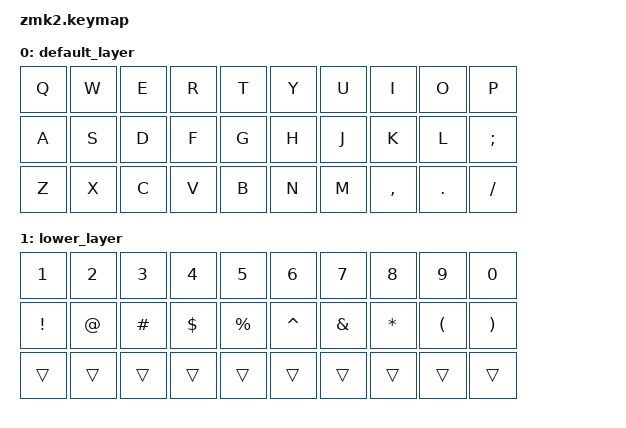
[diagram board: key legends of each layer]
#include <behaviors.dtsi>
#include <dt-bindings/zmk/keys.h>

/ {
    keymap {
        compatible = "zmk,keymap";

        default_layer {
            bindings = <
                &kp Q &kp W &kp E &kp R &kp T &kp Y &kp U &kp I &kp O &kp P
                &kp A &kp S &kp D &kp F &kp G &kp H &kp J &kp K &kp L &kp SEMI
                &kp Z &kp X &kp C &kp V &kp B &kp N &kp M &kp COMMA &kp DOT &kp SLASH
            >;
        };

        lower_layer {
            bindings = <
                &kp N1 &kp N2 &kp N3 &kp N4 &kp N5 &kp N6 &kp N7 &kp N8 &kp N9 &kp N0
                &kp EXCL &kp AT &kp HASH &kp DLLR &kp PRCNT &kp CARET &kp AMPS &kp STAR &kp LPAR &kp RPAR
                &trans &trans &trans &trans &trans &trans &trans &trans &trans &trans
            >;
        };
    };
};
